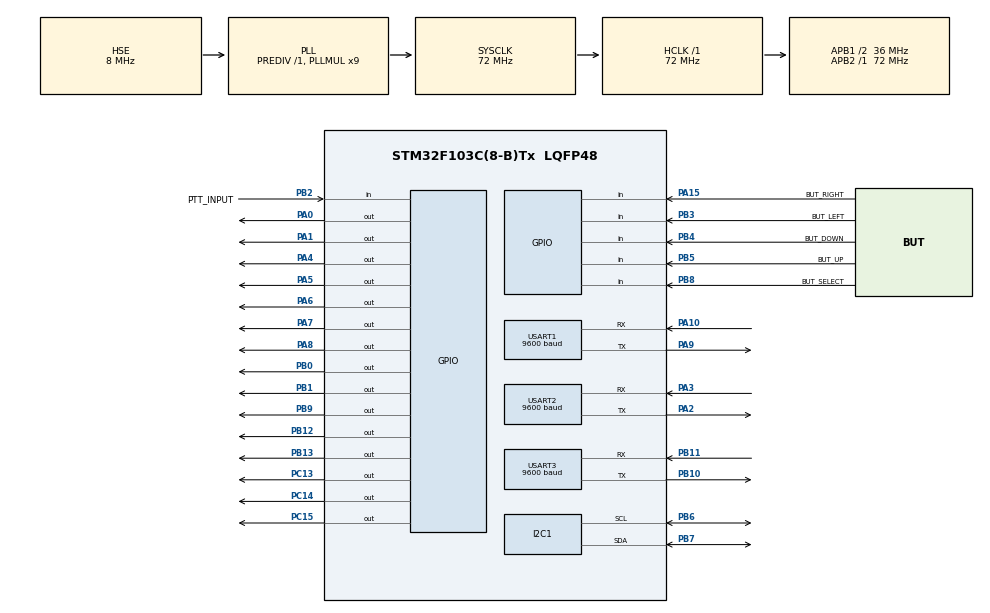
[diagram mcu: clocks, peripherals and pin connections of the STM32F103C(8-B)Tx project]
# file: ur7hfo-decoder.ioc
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Dma.Request0=USART1_RX
Dma.Request1=USART1_TX
Dma.Request2=USART2_RX
Dma.Request3=USART2_TX
Dma.Request4=USART3_RX
Dma.Request5=USART3_TX
Dma.USART1_RX.0.Direction=DMA_PERIPH_TO_MEMORY
Dma.USART1_RX.0.Instance=DMA1_Channel5
Dma.USART1_RX.0.MemDataAlignment=DMA_MDATAALIGN_BYTE
Dma.USART1_RX.0.MemInc=DMA_MINC_ENABLE
Dma.USART1_RX.0.Mode=DMA_NORMAL
Dma.USART1_RX.0.PeriphDataAlignment=DMA_PDATAALIGN_BYTE
Dma.USART1_RX.0.PeriphInc=DMA_PINC_DISABLE
Dma.USART1_RX.0.Priority=DMA_PRIORITY_HIGH
Dma.USART1_TX.1.Direction=DMA_MEMORY_TO_PERIPH
Dma.USART1_TX.1.Instance=DMA1_Channel4
Dma.USART1_TX.1.MemDataAlignment=DMA_MDATAALIGN_BYTE
Dma.USART1_TX.1.MemInc=DMA_MINC_ENABLE
Dma.USART1_TX.1.Mode=DMA_NORMAL
Dma.USART1_TX.1.PeriphDataAlignment=DMA_PDATAALIGN_BYTE
Dma.USART1_TX.1.PeriphInc=DMA_PINC_DISABLE
Dma.USART1_TX.1.Priority=DMA_PRIORITY_HIGH
Dma.USART2_RX.2.Direction=DMA_PERIPH_TO_MEMORY
Dma.USART2_RX.2.Instance=DMA1_Channel6
Dma.USART2_RX.2.MemDataAlignment=DMA_MDATAALIGN_BYTE
Dma.USART2_RX.2.MemInc=DMA_MINC_ENABLE
Dma.USART2_RX.2.Mode=DMA_NORMAL
Dma.USART2_RX.2.PeriphDataAlignment=DMA_PDATAALIGN_BYTE
Dma.USART2_RX.2.PeriphInc=DMA_PINC_DISABLE
Dma.USART2_RX.2.Priority=DMA_PRIORITY_HIGH
Dma.USART2_TX.3.Direction=DMA_MEMORY_TO_PERIPH
Dma.USART2_TX.3.Instance=DMA1_Channel7
Dma.USART2_TX.3.MemDataAlignment=DMA_MDATAALIGN_BYTE
Dma.USART2_TX.3.MemInc=DMA_MINC_ENABLE
Dma.USART2_TX.3.Mode=DMA_NORMAL
Dma.USART2_TX.3.PeriphDataAlignment=DMA_PDATAALIGN_BYTE
Dma.USART2_TX.3.PeriphInc=DMA_PINC_DISABLE
Dma.USART2_TX.3.Priority=DMA_PRIORITY_HIGH
Dma.USART3_RX.4.Direction=DMA_PERIPH_TO_MEMORY
Dma.USART3_RX.4.Instance=DMA1_Channel3
Dma.USART3_RX.4.MemDataAlignment=DMA_MDATAALIGN_BYTE
Dma.USART3_RX.4.MemInc=DMA_MINC_ENABLE
Dma.USART3_RX.4.Mode=DMA_NORMAL
Dma.USART3_RX.4.PeriphDataAlignment=DMA_PDATAALIGN_BYTE
Dma.USART3_RX.4.PeriphInc=DMA_PINC_DISABLE
Dma.USART3_RX.4.Priority=DMA_PRIORITY_HIGH
Dma.USART3_TX.5.Direction=DMA_MEMORY_TO_PERIPH
Dma.USART3_TX.5.Instance=DMA1_Channel2
Dma.USART3_TX.5.MemDataAlignment=DMA_MDATAALIGN_BYTE
Dma.USART3_TX.5.MemInc=DMA_MINC_ENABLE
Dma.USART3_TX.5.Mode=DMA_NORMAL
Dma.USART3_TX.5.PeriphDataAlignment=DMA_PDATAALIGN_BYTE
Dma.USART3_TX.5.PeriphInc=DMA_PINC_DISABLE
Dma.USART3_TX.5.Priority=DMA_PRIORITY_HIGH
I2C1.I2C_Mode=I2C_Fast
Mcu.Family=STM32F1
Mcu.Name=STM32F103C(8-B)Tx
Mcu.Package=LQFP48
NVIC.DMA1_Channel2_IRQn=true\:0\:0\:false\:false\:true\:false
NVIC.DMA1_Channel3_IRQn=true\:0\:0\:false\:false\:true\:false
NVIC.DMA1_Channel4_IRQn=true\:0\:0\:false\:false\:true\:false
NVIC.DMA1_Channel5_IRQn=true\:0\:0\:false\:false\:true\:false
NVIC.DMA1_Channel6_IRQn=true\:0\:0\:false\:false\:true\:false
NVIC.DMA1_Channel7_IRQn=true\:0\:0\:false\:false\:true\:false
NVIC.PriorityGroup=NVIC_PRIORITYGROUP_4
NVIC.USART1_IRQn=true\:0\:0\:true\:false\:true\:true
NVIC.USART2_IRQn=true\:0\:0\:true\:false\:true\:true
NVIC.USART3_IRQn=true\:0\:0\:true\:false\:true\:true
PA0-WKUP.GPIO_ModeDefaultOutputPP=GPIO_MODE_OUTPUT_PP
PA0-WKUP.GPIO_Speed=GPIO_SPEED_FREQ_LOW
PA0-WKUP.PinState=GPIO_PIN_RESET
PA0-WKUP.Signal=GPIO_Output
PA1.GPIO_ModeDefaultOutputPP=GPIO_MODE_OUTPUT_PP
PA1.GPIO_Speed=GPIO_SPEED_FREQ_LOW
PA1.PinState=GPIO_PIN_RESET
PA1.Signal=GPIO_Output
PA10.GPIO_Mode=GPIO_MODE_INPUT
PA10.GPIO_PuPd=GPIO_NOPULL
PA10.Mode=Asynchronous
PA10.Signal=USART1_RX
PA13.Mode=Serial_Wire
PA13.Signal=SYS_JTMS-SWDIO
PA14.Mode=Serial_Wire
PA14.Signal=SYS_JTCK-SWCLK
PA15.GPIO_Label=BUT_RIGHT
PA15.GPIO_PuPd=GPIO_PULLUP
PA15.Signal=GPIO_Input
PA2.Mode=Asynchronous
PA2.Signal=USART2_TX
PA3.GPIO_PuPd=GPIO_NOPULL
PA3.Mode=Asynchronous
PA3.Signal=USART2_RX
PA4.GPIO_ModeDefaultOutputPP=GPIO_MODE_OUTPUT_PP
PA4.GPIO_Speed=GPIO_SPEED_FREQ_LOW
PA4.PinState=GPIO_PIN_RESET
PA4.Signal=GPIO_Output
PA5.GPIO_ModeDefaultOutputPP=GPIO_MODE_OUTPUT_PP
PA5.GPIO_Speed=GPIO_SPEED_FREQ_LOW
PA5.PinState=GPIO_PIN_RESET
PA5.Signal=GPIO_Output
PA6.GPIO_ModeDefaultOutputPP=GPIO_MODE_OUTPUT_PP
PA6.GPIO_Speed=GPIO_SPEED_FREQ_LOW
PA6.PinState=GPIO_PIN_RESET
PA6.Signal=GPIO_Output
PA7.GPIO_ModeDefaultOutputPP=GPIO_MODE_OUTPUT_PP
PA7.GPIO_Speed=GPIO_SPEED_FREQ_LOW
PA7.PinState=GPIO_PIN_RESET
PA7.Signal=GPIO_Output
PA8.Signal=GPIO_Output
PA9.Mode=Asynchronous
PA9.Signal=USART1_TX
PB0.GPIO_ModeDefaultOutputPP=GPIO_MODE_OUTPUT_PP
PB0.GPIO_Speed=GPIO_SPEED_FREQ_LOW
PB0.PinState=GPIO_PIN_RESET
PB0.Signal=GPIO_Output
PB1.GPIO_ModeDefaultOutputPP=GPIO_MODE_OUTPUT_PP
PB1.GPIO_Speed=GPIO_SPEED_FREQ_LOW
PB1.PinState=GPIO_PIN_RESET
PB1.Signal=GPIO_Output
PB10.Mode=Asynchronous
PB10.Signal=USART3_TX
PB11.GPIO_PuPd=GPIO_NOPULL
PB11.Mode=Asynchronous
PB11.Signal=USART3_RX
PB12.GPIO_ModeDefaultOutputPP=GPIO_MODE_OUTPUT_PP
PB12.GPIO_Speed=GPIO_SPEED_FREQ_LOW
PB12.PinState=GPIO_PIN_RESET
PB12.Signal=GPIO_Output
PB13.GPIO_ModeDefaultOutputPP=GPIO_MODE_OUTPUT_PP
PB13.GPIO_Speed=GPIO_SPEED_FREQ_LOW
PB13.PinState=GPIO_PIN_RESET
PB13.Signal=GPIO_Output
PB2.GPIO_Label=PTT_INPUT
PB2.Signal=GPIO_Input
PB3.GPIO_Label=BUT_LEFT
PB3.GPIO_PuPd=GPIO_PULLUP
PB3.Signal=GPIO_Input
PB4.GPIO_Label=BUT_DOWN
PB4.GPIO_PuPd=GPIO_PULLUP
PB4.Signal=GPIO_Input
PB5.GPIO_Label=BUT_UP
PB5.GPIO_PuPd=GPIO_PULLUP
PB5.Signal=GPIO_Input
PB6.Mode=I2C
PB6.Signal=I2C1_SCL
PB7.Mode=I2C
PB7.Signal=I2C1_SDA
PB8.GPIO_Label=BUT_SELECT
PB8.GPIO_PuPd=GPIO_PULLUP
PB8.Signal=GPIO_Input
PB9.GPIO_ModeDefaultOutputPP=GPIO_MODE_OUTPUT_PP
PB9.GPIO_Speed=GPIO_SPEED_FREQ_LOW
PB9.PinState=GPIO_PIN_RESET
PB9.Signal=GPIO_Output
PC13-TAMPER-RTC.GPIO_ModeDefaultOutputPP=GPIO_MODE_OUTPUT_PP
PC13-TAMPER-RTC.GPIO_Speed=GPIO_SPEED_FREQ_LOW
PC13-TAMPER-RTC.PinState=GPIO_PIN_RESET
PC13-TAMPER-RTC.Signal=GPIO_Output
PC14-OSC32_IN.GPIO_ModeDefaultOutputPP=GPIO_MODE_OUTPUT_PP
PC14-OSC32_IN.GPIO_Speed=GPIO_SPEED_FREQ_LOW
PC14-OSC32_IN.PinState=GPIO_PIN_RESET
PC14-OSC32_IN.Signal=GPIO_Output
PC15-OSC32_OUT.GPIO_ModeDefaultOutputPP=GPIO_MODE_OUTPUT_PP
PC15-OSC32_OUT.GPIO_Speed=GPIO_SPEED_FREQ_LOW
PC15-OSC32_OUT.PinState=GPIO_PIN_RESET
PC15-OSC32_OUT.Signal=GPIO_Output
PD0-OSC_IN.Mode=HSE-External-Oscillator
PD0-OSC_IN.Signal=RCC_OSC_IN
PD1-OSC_OUT.Mode=HSE-External-Oscillator
PD1-OSC_OUT.Signal=RCC_OSC_OUT
ProjectManager.HeapSize=0x500
ProjectManager.StackSize=0x1000
ProjectManager.TargetToolchain=TrueSTUDIO
RCC.AHBFreq_Value=72000000
RCC.APB1CLKDivider=RCC_HCLK_DIV2
RCC.APB1Freq_Value=36000000
RCC.APB1TimFreq_Value=72000000
RCC.APB2Freq_Value=72000000
RCC.APB2TimFreq_Value=72000000
RCC.HCLKFreq_Value=72000000
RCC.PLLMUL=RCC_PLL_MUL9
RCC.PLLSourceVirtual=RCC_PLLSOURCE_HSE
RCC.SYSCLKFreq_VALUE=72000000
RCC.SYSCLKSource=RCC_SYSCLKSOURCE_PLLCLK
RCC.USBFreq_Value=48000000
RCC.USBPrescaler=RCC_USBCLKSOURCE_PLL_DIV1_5
USART1.BaudRate=9600
USART1.VirtualMode=VM_ASYNC
USART2.BaudRate=9600
USART2.VirtualMode=VM_ASYNC
USART3.BaudRate=9600
USART3.VirtualMode=VM_ASYNC
board=ur7hfo-decoder

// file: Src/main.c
/**
  ******************************************************************************
  * @file           : main.c
  * @brief          : Main program body
  ******************************************************************************
  ** This notice applies to any and all portions of this file
  * that are not between comment pairs USER CODE BEGIN and
  * USER CODE END. Other portions of this file, whether
  * inserted by the user or by software development tools
  * are owned by their respective copyright owners.
  *
  * COPYRIGHT(c) 2018 STMicroelectronics
  *
  * Redistribution and use in source and binary forms, with or without modification,
  * are permitted provided that the following conditions are met:
  *   1. Redistributions of source code must retain the above copyright notice,
  *      this list of conditions and the following disclaimer.
  *   2. Redistributions in binary form must reproduce the above copyright notice,
  *      this list of conditions and the following disclaimer in the documentation
  *      and/or other materials provided with the distribution.
  *   3. Neither the name of STMicroelectronics nor the names of its contributors
  *      may be used to endorse or promote products derived from this software
  *      without specific prior written permission.
  *
  * THIS SOFTWARE IS PROVIDED BY THE COPYRIGHT HOLDERS AND CONTRIBUTORS "AS IS"
  * AND ANY EXPRESS OR IMPLIED WARRANTIES, INCLUDING, BUT NOT LIMITED TO, THE
  * IMPLIED WARRANTIES OF MERCHANTABILITY AND FITNESS FOR A PARTICULAR PURPOSE ARE
  * DISCLAIMED. IN NO EVENT SHALL THE COPYRIGHT HOLDER OR CONTRIBUTORS BE LIABLE
  * FOR ANY DIRECT, INDIRECT, INCIDENTAL, SPECIAL, EXEMPLARY, OR CONSEQUENTIAL
  * DAMAGES (INCLUDING, BUT NOT LIMITED TO, PROCUREMENT OF SUBSTITUTE GOODS OR
  * SERVICES; LOSS OF USE, DATA, OR PROFITS; OR BUSINESS INTERRUPTION) HOWEVER
  * CAUSED AND ON ANY THEORY OF LIABILITY, WHETHER IN CONTRACT, STRICT LIABILITY,
  * OR TORT (INCLUDING NEGLIGENCE OR OTHERWISE) ARISING IN ANY WAY OUT OF THE USE
  * OF THIS SOFTWARE, EVEN IF ADVISED OF THE POSSIBILITY OF SUCH DAMAGE.
  *
  ******************************************************************************
  */
#include "main.h"
#include "stm32f1xx_hal.h"

/* USER CODE BEGIN Includes */
#include <string.h>
#include <stdlib.h>
#include <stdbool.h>

#include "banddecoder.h"
#include "eeprom24xx.h"
#include "menu.h"

/* USER CODE END Includes */

I2C_HandleTypeDef hi2c1;

UART_HandleTypeDef huart1;
UART_HandleTypeDef huart2;
UART_HandleTypeDef huart3;
DMA_HandleTypeDef hdma_usart1_rx;
DMA_HandleTypeDef hdma_usart1_tx;
DMA_HandleTypeDef hdma_usart2_rx;
DMA_HandleTypeDef hdma_usart2_tx;
DMA_HandleTypeDef hdma_usart3_rx;
DMA_HandleTypeDef hdma_usart3_tx;

/* USER CODE BEGIN PV */
/* Private variables ---------------------------------------------------------*/

/* USER CODE END PV */

void SystemClock_Config(void);
static void MX_GPIO_Init(void);
static void MX_DMA_Init(void);
static void MX_USART3_UART_Init(void);
static void MX_USART1_UART_Init(void);
static void MX_USART2_UART_Init(void);
static void MX_I2C1_Init(void);

/* USER CODE BEGIN PFP */
/* Private function prototypes -----------------------------------------------*/

/* USER CODE END PFP */

/* USER CODE BEGIN 0 */

extern uint8_t trxCatBuffer[KENWOODCATLEN];
extern uint8_t loggerCatBuffer[KENWOODCATLEN];

uint8_t band = 0;
uint32_t freq = 0;

__IO uint32_t freqFromTrx = 0;
__IO uint32_t freqFromLogger = 0;

__IO ITStatus UartReady_RX_1 = RESET;
__IO ITStatus UartReady_TX_1 = RESET;
__IO ITStatus UartReady_RX_2 = RESET;
__IO ITStatus UartReady_TX_2 = RESET;
__IO ITStatus UartReady_RX_3 = RESET;
__IO ITStatus UartReady_TX_3 = RESET;

bool PttState = false;
bool logger = true;

/* USER CODE END 0 */

int main(void)
{

  /* MCU Configuration----------------------------------------------------------*/

  /* Reset of all peripherals, Initializes the Flash interface and the Systick. */
  HAL_Init();

  /* Configure the system clock */
  SystemClock_Config();

  /* Initialize all configured peripherals */
  MX_GPIO_Init();
  MX_DMA_Init();
  MX_USART3_UART_Init();
  MX_USART1_UART_Init();
  MX_USART2_UART_Init();
  MX_I2C1_Init();
  /* USER CODE BEGIN 2 */

  HAL_UART_Receive_DMA(&huart1, (uint8_t *) trxCatBuffer, sizeof(trxCatBuffer));
  HAL_UART_Receive_DMA(&huart2, (uint8_t *) loggerCatBuffer, sizeof(loggerCatBuffer));

#ifdef SSD1306
	ssd1306_Init();
	HAL_Delay(100);
	ssd1306_Fill(Black);
	ssd1306_SetCursor(0, 0);
	ssd1306_WriteString("UR7HFO", Font_7x10, White);
	ssd1306_SetCursor(0, 16);
	ssd1306_WriteString("DECODER 0.01a", Font_7x10, White);
	ssd1306_UpdateScreen();
	HAL_Delay(1000);
	ssd1306_Fill(Black);
	ssd1306_UpdateScreen();
#endif

#ifdef LCD16X2
	LCD_ini();
	LCD_Clear();
	LCD_SetPos(0,0);
	LCD_String("UR7HFO");
	LCD_SetPos(0,1);
	LCD_String("DECODER 0.01a");
	HAL_Delay(1000);
	LCD_Clear();
#endif

	/* Get tik from sys timer. */
	uint32_t time = HAL_GetTick();
	uint32_t time2 = HAL_GetTick();

	/* Check ext EEPROM connected or not. */
#ifdef EEPROM_YES
	if( EEPROM24XX_IsConnected() == false )
	{
		LCD_String("EEPROM ERROR");
		HAL_Delay(2000);
		Error_Handler();
	}
#endif

  /* USER CODE END 2 */

  /* Infinite loop */
	while (1) {

  /* USER CODE BEGIN 3 */

		if (HAL_GPIO_ReadPin(PTT_INPUT_GPIO_Port, PTT_INPUT_Pin) == GPIO_PIN_SET) {
			PttState = false;
		} else {
			PttState = true;
		}

		if(UartReady_RX_2 == SET) {
			// freqFromLogger = readKenwoodCat(loggerCatBuffer);
			UartReady_RX_2 = RESET;
			HAL_UART_Receive_DMA(&huart2, (uint8_t *) loggerCatBuffer, sizeof(loggerCatBuffer));
		}

		if(UartReady_RX_1 == SET) {
			// freqFromTrx = readKenwoodCat(trxCatBuffer);
			UartReady_RX_1 = RESET;
			HAL_UART_Receive_DMA(&huart1, (uint8_t *) trxCatBuffer, sizeof(trxCatBuffer));
		}

		freqFromLogger = readKenwoodCat(loggerCatBuffer);
		freqFromTrx = readKenwoodCat(trxCatBuffer);

		/* If PTT not active state */
		if (PttState == false) {
			if (freqFromTrx > 1500000 && freqFromTrx < 450000000) {
				if (freqFromTrx != freq) {
					freq = freqFromTrx;
					band = GetBand(freq);
					WriteSplit(band, freq);
					WriteBand(band);
					bcdOut(band);
					IcomOutToPort(0x00, freq, 0x00);
					KenwoodOutToPort(freq);
					DisplayDraw(band, freq);
				}
			} else if (freqFromLogger > 1500000 && freqFromLogger < 450000000) {
				if (freqFromLogger != freq) {
					freq = freqFromLogger;
					band = GetBand(freq);
					WriteSplit(band, freq);
					WriteBand(band);
					bcdOut(band);
					IcomOutToPort(0x00, freq, 0x00);
					KenwoodOutToPort(freq);
					DisplayDraw(band, freq);
				}
			}
		}

		if (HAL_GetTick() - time > POLLING_INTERVAL) {
			if (logger != true) {
				KenwoodRequest();
			}
			time = HAL_GetTick();
		}

		if (HAL_GetTick() - time2 > CAT_TX_INTERVAL) {
			logger = CheckLoggerActive(loggerCatBuffer);
			freqFromLogger = readKenwoodCat(loggerCatBuffer);
			freqFromTrx = readKenwoodCat(trxCatBuffer);
			FlushCatBuffers(loggerCatBuffer, trxCatBuffer);

			if (freqFromLogger == 0 && freqFromTrx == 0) {
				DisplayText("NO DATA");
			} else {
				DisplayDraw(band, freq);
			}

			/* cmd => 0x00 address => 0x00 Send broadcast freq. */
			IcomOutToPort(0x00, freq, 0x00);
			/* IcomOutToPortMod(0x01, 0x00, 0x07); *//* cmd => 0x01 address => 0x00 Send broadcast mode. */
			KenwoodOutToPort(freq);
			time2 = HAL_GetTick();
		}

		/* IcomCivEmulator(freq); */
	}

  /* USER CODE END 3 */

}

void SystemClock_Config(void)
{

  RCC_OscInitTypeDef RCC_OscInitStruct;
  RCC_ClkInitTypeDef RCC_ClkInitStruct;

    /**Initializes the CPU, AHB and APB busses clocks
    */
  RCC_OscInitStruct.OscillatorType = RCC_OSCILLATORTYPE_HSE;
  RCC_OscInitStruct.HSEState = RCC_HSE_ON;
  RCC_OscInitStruct.HSEPredivValue = RCC_HSE_PREDIV_DIV1;
  RCC_OscInitStruct.HSIState = RCC_HSI_ON;
  RCC_OscInitStruct.PLL.PLLState = RCC_PLL_ON;
  RCC_OscInitStruct.PLL.PLLSource = RCC_PLLSOURCE_HSE;
  RCC_OscInitStruct.PLL.PLLMUL = RCC_PLL_MUL9;
  if (HAL_RCC_OscConfig(&RCC_OscInitStruct) != HAL_OK)
  {
    _Error_Handler(__FILE__, __LINE__);
  }

    /**Initializes the CPU, AHB and APB busses clocks
    */
  RCC_ClkInitStruct.ClockType = RCC_CLOCKTYPE_HCLK|RCC_CLOCKTYPE_SYSCLK
                              |RCC_CLOCKTYPE_PCLK1|RCC_CLOCKTYPE_PCLK2;
  RCC_ClkInitStruct.SYSCLKSource = RCC_SYSCLKSOURCE_PLLCLK;
  RCC_ClkInitStruct.AHBCLKDivider = RCC_SYSCLK_DIV1;
  RCC_ClkInitStruct.APB1CLKDivider = RCC_HCLK_DIV2;
  RCC_ClkInitStruct.APB2CLKDivider = RCC_HCLK_DIV1;

  if (HAL_RCC_ClockConfig(&RCC_ClkInitStruct, FLASH_LATENCY_2) != HAL_OK)
  {
    _Error_Handler(__FILE__, __LINE__);
  }

    /**Configure the Systick interrupt time
    */
  HAL_SYSTICK_Config(HAL_RCC_GetHCLKFreq()/1000);

    /**Configure the Systick
    */
  HAL_SYSTICK_CLKSourceConfig(SYSTICK_CLKSOURCE_HCLK);

  /* SysTick_IRQn interrupt configuration */
  HAL_NVIC_SetPriority(SysTick_IRQn, 0, 0);
}

/* I2C1 init function */
static void MX_I2C1_Init(void)
{

  hi2c1.Instance = I2C1;
  hi2c1.Init.ClockSpeed = 400000;
  hi2c1.Init.DutyCycle = I2C_DUTYCYCLE_2;
  hi2c1.Init.OwnAddress1 = 0;
  hi2c1.Init.AddressingMode = I2C_ADDRESSINGMODE_7BIT;
  hi2c1.Init.DualAddressMode = I2C_DUALADDRESS_DISABLE;
  hi2c1.Init.OwnAddress2 = 0;
  hi2c1.Init.GeneralCallMode = I2C_GENERALCALL_DISABLE;
  hi2c1.Init.NoStretchMode = I2C_NOSTRETCH_DISABLE;
  if (HAL_I2C_Init(&hi2c1) != HAL_OK)
  {
    _Error_Handler(__FILE__, __LINE__);
  }

}

/* USART1 init function */
static void MX_USART1_UART_Init(void)
{

  huart1.Instance = USART1;
  huart1.Init.BaudRate = 9600;
  huart1.Init.WordLength = UART_WORDLENGTH_8B;
  huart1.Init.StopBits = UART_STOPBITS_1;
  huart1.Init.Parity = UART_PARITY_NONE;
  huart1.Init.Mode = UART_MODE_TX_RX;
  huart1.Init.HwFlowCtl = UART_HWCONTROL_NONE;
  huart1.Init.OverSampling = UART_OVERSAMPLING_16;
  if (HAL_UART_Init(&huart1) != HAL_OK)
  {
    _Error_Handler(__FILE__, __LINE__);
  }

}

/* USART2 init function */
static void MX_USART2_UART_Init(void)
{

  huart2.Instance = USART2;
  huart2.Init.BaudRate = 9600;
  huart2.Init.WordLength = UART_WORDLENGTH_8B;
  huart2.Init.StopBits = UART_STOPBITS_1;
  huart2.Init.Parity = UART_PARITY_NONE;
  huart2.Init.Mode = UART_MODE_TX_RX;
  huart2.Init.HwFlowCtl = UART_HWCONTROL_NONE;
  huart2.Init.OverSampling = UART_OVERSAMPLING_16;
  if (HAL_UART_Init(&huart2) != HAL_OK)
  {
    _Error_Handler(__FILE__, __LINE__);
  }

}

/* USART3 init function */
static void MX_USART3_UART_Init(void)
{

  huart3.Instance = USART3;
  huart3.Init.BaudRate = 9600;
  huart3.Init.WordLength = UART_WORDLENGTH_8B;
  huart3.Init.StopBits = UART_STOPBITS_1;
  huart3.Init.Parity = UART_PARITY_NONE;
  huart3.Init.Mode = UART_MODE_TX_RX;
  huart3.Init.HwFlowCtl = UART_HWCONTROL_NONE;
  huart3.Init.OverSampling = UART_OVERSAMPLING_16;
  if (HAL_UART_Init(&huart3) != HAL_OK)
  {
    _Error_Handler(__FILE__, __LINE__);
  }

}

static void MX_DMA_Init(void)
{
  /* DMA controller clock enable */
  __HAL_RCC_DMA1_CLK_ENABLE();

  /* DMA interrupt init */
  /* DMA1_Channel2_IRQn interrupt configuration */
  HAL_NVIC_SetPriority(DMA1_Channel2_IRQn, 0, 0);
  HAL_NVIC_EnableIRQ(DMA1_Channel2_IRQn);
  /* DMA1_Channel3_IRQn interrupt configuration */
  HAL_NVIC_SetPriority(DMA1_Channel3_IRQn, 0, 0);
  HAL_NVIC_EnableIRQ(DMA1_Channel3_IRQn);
  /* DMA1_Channel4_IRQn interrupt configuration */
  HAL_NVIC_SetPriority(DMA1_Channel4_IRQn, 0, 0);
  HAL_NVIC_EnableIRQ(DMA1_Channel4_IRQn);
  /* DMA1_Channel5_IRQn interrupt configuration */
  HAL_NVIC_SetPriority(DMA1_Channel5_IRQn, 0, 0);
  HAL_NVIC_EnableIRQ(DMA1_Channel5_IRQn);
  /* DMA1_Channel6_IRQn interrupt configuration */
  HAL_NVIC_SetPriority(DMA1_Channel6_IRQn, 0, 0);
  HAL_NVIC_EnableIRQ(DMA1_Channel6_IRQn);
  /* DMA1_Channel7_IRQn interrupt configuration */
  HAL_NVIC_SetPriority(DMA1_Channel7_IRQn, 0, 0);
  HAL_NVIC_EnableIRQ(DMA1_Channel7_IRQn);

}

/** Configure pins as
        * Analog
        * Input
        * Output
        * EVENT_OUT
        * EXTI
*/
static void MX_GPIO_Init(void)
{

  GPIO_InitTypeDef GPIO_InitStruct;

  /* GPIO Ports Clock Enable */
  __HAL_RCC_GPIOC_CLK_ENABLE();
  __HAL_RCC_GPIOD_CLK_ENABLE();
  __HAL_RCC_GPIOA_CLK_ENABLE();
  __HAL_RCC_GPIOB_CLK_ENABLE();

  /*Configure GPIO pin Output Level */
  HAL_GPIO_WritePin(GPIOC, GPIO_PIN_13|GPIO_PIN_14|GPIO_PIN_15, GPIO_PIN_RESET);

  /*Configure GPIO pin Output Level */
  HAL_GPIO_WritePin(GPIOA, GPIO_PIN_0|GPIO_PIN_1|GPIO_PIN_4|GPIO_PIN_5
                          |GPIO_PIN_6|GPIO_PIN_7|GPIO_PIN_8, GPIO_PIN_RESET);

  /*Configure GPIO pin Output Level */
  HAL_GPIO_WritePin(GPIOB, GPIO_PIN_0|GPIO_PIN_1|GPIO_PIN_12|GPIO_PIN_13
                          |GPIO_PIN_9, GPIO_PIN_RESET);

  /*Configure GPIO pins : PC13 PC14 PC15 */
  GPIO_InitStruct.Pin = GPIO_PIN_13|GPIO_PIN_14|GPIO_PIN_15;
  GPIO_InitStruct.Mode = GPIO_MODE_OUTPUT_PP;
  GPIO_InitStruct.Speed = GPIO_SPEED_FREQ_LOW;
  HAL_GPIO_Init(GPIOC, &GPIO_InitStruct);

  /*Configure GPIO pins : PA0 PA1 PA4 PA5
                           PA6 PA7 PA8 */
  GPIO_InitStruct.Pin = GPIO_PIN_0|GPIO_PIN_1|GPIO_PIN_4|GPIO_PIN_5
                          |GPIO_PIN_6|GPIO_PIN_7|GPIO_PIN_8;
  GPIO_InitStruct.Mode = GPIO_MODE_OUTPUT_PP;
  GPIO_InitStruct.Speed = GPIO_SPEED_FREQ_LOW;
  HAL_GPIO_Init(GPIOA, &GPIO_InitStruct);

  /*Configure GPIO pins : PB0 PB1 PB12 PB13
                           PB9 */
  GPIO_InitStruct.Pin = GPIO_PIN_0|GPIO_PIN_1|GPIO_PIN_12|GPIO_PIN_13
                          |GPIO_PIN_9;
  GPIO_InitStruct.Mode = GPIO_MODE_OUTPUT_PP;
  GPIO_InitStruct.Speed = GPIO_SPEED_FREQ_LOW;
  HAL_GPIO_Init(GPIOB, &GPIO_InitStruct);

  /*Configure GPIO pin : PTT_INPUT_Pin */
  GPIO_InitStruct.Pin = PTT_INPUT_Pin;
  GPIO_InitStruct.Mode = GPIO_MODE_INPUT;
  GPIO_InitStruct.Pull = GPIO_NOPULL;
  HAL_GPIO_Init(PTT_INPUT_GPIO_Port, &GPIO_InitStruct);

  /*Configure GPIO pin : BUT_RIGHT_Pin */
  GPIO_InitStruct.Pin = BUT_RIGHT_Pin;
  GPIO_InitStruct.Mode = GPIO_MODE_INPUT;
  GPIO_InitStruct.Pull = GPIO_PULLUP;
  HAL_GPIO_Init(BUT_RIGHT_GPIO_Port, &GPIO_InitStruct);

  /*Configure GPIO pins : BUT_LEFT_Pin BUT_DOWN_Pin BUT_UP_Pin BUT_SELECT_Pin */
  GPIO_InitStruct.Pin = BUT_LEFT_Pin|BUT_DOWN_Pin|BUT_UP_Pin|BUT_SELECT_Pin;
  GPIO_InitStruct.Mode = GPIO_MODE_INPUT;
  GPIO_InitStruct.Pull = GPIO_PULLUP;
  HAL_GPIO_Init(GPIOB, &GPIO_InitStruct);

}

/* USER CODE BEGIN 4 */

/* ------------------------------------------------------------------------------------------------ */
void HAL_UART_ErrorCallback(UART_HandleTypeDef *UartHandle)
{
	uint32_t error = UartHandle->ErrorCode;

	ssd1306_Fill(Black);
	ssd1306_SetCursor(0, 0);
	ssd1306_UpdateScreen();

	/* Parity error */
	if (error == HAL_UART_ERROR_PE) {
		if (UartHandle->Instance == USART1)
			ssd1306_WriteString("UART1 parity error", Font_7x10, White);
		if (UartHandle->Instance == USART2)
			ssd1306_WriteString("UART2 parity error", Font_7x10, White);
		if (UartHandle->Instance == USART3)
			ssd1306_WriteString("UART3 parity error", Font_7x10, White);
	}

	/* Noise error */
	if (error == HAL_UART_ERROR_NE) {
		if (UartHandle->Instance == USART1)
			ssd1306_WriteString("UART1 noise error", Font_7x10, White);
		if (UartHandle->Instance == USART2)
			ssd1306_WriteString("UART2 noise error", Font_7x10, White);
		if (UartHandle->Instance == USART3)
			ssd1306_WriteString("UART3 noise error", Font_7x10, White);
	}

	/* Frame error */
	if (error == HAL_UART_ERROR_FE) {
		if (UartHandle->Instance == USART1)
			ssd1306_WriteString("UART1 frame error", Font_7x10, White);
		if (UartHandle->Instance == USART2)
			ssd1306_WriteString("UART2 frame error", Font_7x10, White);
		if (UartHandle->Instance == USART3)
			ssd1306_WriteString("UART3 frame error", Font_7x10, White);
	}

	/* Overrrun error */
	if (error == HAL_UART_ERROR_ORE) {
		if (UartHandle->Instance == USART1)
			ssd1306_WriteString("UART1 overrun error", Font_7x10, White);
		if (UartHandle->Instance == USART2)
			ssd1306_WriteString("UART2 overrun error", Font_7x10, White);
		if (UartHandle->Instance == USART3)
			ssd1306_WriteString("UART3 overrun error", Font_7x10, White);
	}

	/* DMA error */
	if (error == HAL_UART_ERROR_DMA) {
		if (UartHandle->Instance == USART1)
			ssd1306_WriteString("UART1 dma error", Font_7x10, White);
		if (UartHandle->Instance == USART2)
			ssd1306_WriteString("UART2 dma error", Font_7x10, White);
		if (UartHandle->Instance == USART3)
			ssd1306_WriteString("UART3 dma error", Font_7x10, White);
	}

	ssd1306_UpdateScreen();

	/* Frame error flag */
	__HAL_UART_CLEAR_FEFLAG(&huart1);
	__HAL_UART_CLEAR_FEFLAG(&huart2);
	__HAL_UART_CLEAR_FEFLAG(&huart3);

	/* Noise error flag */
	__HAL_UART_CLEAR_NEFLAG(&huart1);
	__HAL_UART_CLEAR_NEFLAG(&huart2);
	__HAL_UART_CLEAR_NEFLAG(&huart3);

	/* Overrun error flag */
	__HAL_UART_CLEAR_OREFLAG(&huart1);
	__HAL_UART_CLEAR_OREFLAG(&huart2);
	__HAL_UART_CLEAR_OREFLAG(&huart3);

	/* PE error */
	__HAL_UART_CLEAR_PEFLAG(&huart1);
	__HAL_UART_CLEAR_PEFLAG(&huart2);
	__HAL_UART_CLEAR_PEFLAG(&huart3);

	HAL_UART_Receive_DMA(&huart1, (uint8_t *) trxCatBuffer, sizeof(trxCatBuffer));
	HAL_UART_Receive_DMA(&huart2, (uint8_t *) loggerCatBuffer, sizeof(loggerCatBuffer));

	/* Error_Handler(); */
}

/* ------------------------------------------------------------------------------------------------- */
void HAL_UART_TxCpltCallback(UART_HandleTypeDef *UartHandle)
 {
	if (UartHandle->Instance == USART1) {
		UartReady_TX_1 = SET;
	}

	if (UartHandle->Instance == USART2) {
		UartReady_TX_2 = SET;
	}

	if (UartHandle->Instance == USART3) {
		UartReady_TX_3 = SET;
	}
}

/* ------------------------------------------------------------------------------------------------- */
void HAL_UART_RxCpltCallback(UART_HandleTypeDef *UartHandle)
 {
	if (UartHandle->Instance == USART1) {
		UartReady_RX_1 = SET;
		/* hdma_usart1_rx.State = HAL_DMA_STATE_BUSY; */
	}

	if (UartHandle->Instance == USART2) {
		UartReady_RX_2 = SET;
		/* hdma_usart2_rx.State = HAL_DMA_STATE_BUSY; */
	}

	if (UartHandle->Instance == USART3) {
	}
}

/* void HAL_GPIO_EXTI_Callback(uint16_t GPIO_Pin) {  } */

/* USER CODE END 4 */

void _Error_Handler(char *file, int line)
{
  /* USER CODE BEGIN Error_Handler_Debug */
	/* User can add his own implementation to report the HAL error return state */
	char line_buf[16] = { 0 };

#ifdef LCD16X2
	LCD_Clear();
	LCD_SetPos(0,0);
	LCD_String(file);

	LCD_SetPos(0,1);
	LCD_String("STR: ");
	sprintf(line_buf, "%d", line);
	LCD_String(line_buf);
#endif

#ifdef SSD1306
	ssd1306_Fill(Black);
	ssd1306_SetCursor(0, 0);
	ssd1306_WriteString(file, Font_7x10, White);

	ssd1306_SetCursor(0, 16);
	sprintf(line_buf, "%d", line);
	ssd1306_WriteString(line_buf, Font_7x10, White);
	ssd1306_UpdateScreen();
#endif

	while (1) {
	}
  /* USER CODE END Error_Handler_Debug */
}

/************************ (C) COPYRIGHT STMicroelectronics *****END OF FILE****/
